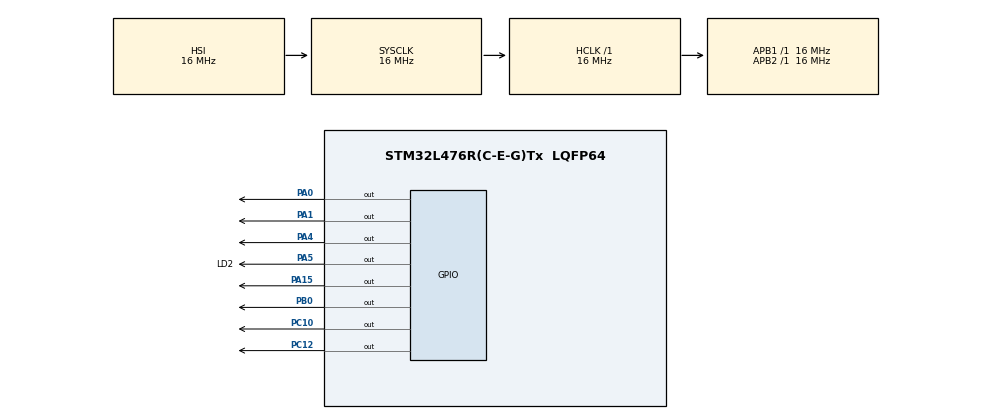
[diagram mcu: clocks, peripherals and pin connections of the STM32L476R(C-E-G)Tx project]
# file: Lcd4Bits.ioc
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Mcu.Family=STM32L4
Mcu.Name=STM32L476R(C-E-G)Tx
Mcu.Package=LQFP64
NVIC.PriorityGroup=NVIC_PRIORITYGROUP_4
PA0.Signal=GPIO_Output
PA1.Signal=GPIO_Output
PA15\ (JTDI).Signal=GPIO_Output
PA4.Signal=GPIO_Output
PA5.GPIO_Label=LD2
PA5.Signal=GPIO_Output
PB0.Signal=GPIO_Output
PC10.Signal=GPIO_Output
PC12.Signal=GPIO_Output
ProjectManager.HeapSize=0x200
ProjectManager.StackSize=0x400
ProjectManager.TargetToolchain=STM32CubeIDE
RCC.AHBFreq_Value=16000000
RCC.APB1Freq_Value=16000000
RCC.APB1TimFreq_Value=16000000
RCC.APB2Freq_Value=16000000
RCC.APB2TimFreq_Value=16000000
RCC.CortexFreq_Value=16000000
RCC.HCLKFreq_Value=16000000
RCC.HSE_VALUE=8000000
RCC.HSI_VALUE=16000000
RCC.LSE_VALUE=32768
RCC.MSI_VALUE=4000000
RCC.SYSCLKFreq_VALUE=16000000
RCC.SYSCLKSource=RCC_SYSCLKSOURCE_HSI
RCC.VCOOutputFreq_Value=32000000
TIM1.Period=65535-1
TIM1.Prescaler=16-1
VP_TIM1_VS_ClockSourceINT.Mode=Internal
board=custom

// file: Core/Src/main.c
/* USER CODE BEGIN Header */
/**
  ******************************************************************************
  * @file           : main.c
  * @brief          : Main program body
  ******************************************************************************
  * @attention
  *
  * Copyright (c) 2022 STMicroelectronics.
  * All rights reserved.
  *
  * This software is licensed under terms that can be found in the LICENSE file
  * in the root directory of this software component.
  * If no LICENSE file comes with this software, it is provided AS-IS.
  *
  ******************************************************************************
  */
/* USER CODE END Header */
#include "main.h"

/* USER CODE BEGIN Includes */

#include "LCD1602.h" //Inclusão da Biblioteca...

//Demais bibliotecas.
#include "string.h"
#include "stdio.h"

/* USER CODE END Includes */

/* USER CODE BEGIN PTD */

uint32_t contagem; //Variável de contagem.
uint8_t dadosbuf[12]; //Dados de string para LCD;

/* USER CODE END PTD */

TIM_HandleTypeDef htim1;

/* USER CODE BEGIN PV */

//Função para atraso, configurado para 1us;
void delay_us(uint16_t us)
{
	__HAL_TIM_SET_COUNTER(&htim1, 0);
	while (__HAL_TIM_GET_COUNTER(&htim1)<us);
}

/* USER CODE END PV */

void SystemClock_Config(void);
static void MX_GPIO_Init(void);
static void MX_TIM1_Init(void);

int main(void)
{

  /* MCU Configuration--------------------------------------------------------*/

  /* Reset of all peripherals, Initializes the Flash interface and the Systick. */
  HAL_Init();

  /* Configure the system clock */
  SystemClock_Config();

  /* Initialize all configured peripherals */
  MX_GPIO_Init();
  MX_TIM1_Init();
  /* USER CODE BEGIN 2 */

  HAL_TIM_Base_Start(&htim1); //Inicializa Timer 1;

  lcd_init();
  lcd_put_cur(0, 0);
  lcd_send_string("Curso ");
  lcd_send_string("STM32 ");
  lcd_send_string("PRO");

  lcd_put_cur(1, 0);
  lcd_send_string("Prof. Gabriel");
  HAL_Delay(3000);

  lcd_clear();

  /* USER CODE END 2 */

  /* Infinite loop */
  while (1)
  {

    /* USER CODE BEGIN 3 */

	  HAL_GPIO_TogglePin(GPIOA, LD2_Pin);
	  HAL_Delay(500);

	  contagem++; //Faz a soma de contagem...

	  sprintf(dadosbuf,"%04u",contagem); //Transforma contagem em string no formato 'xxxx'
	  lcd_put_cur(0, 0); //Posiciona cursor no começo do lcd (0,0).
	  lcd_send_string("Cont: ");
	  lcd_put_cur(0, 5); //Posiciona cursor para mostrar variável do lcd (0,5).
	  lcd_send_string(dadosbuf); //Envia string convertida.

  }
  /* USER CODE END 3 */
}

void SystemClock_Config(void)
{
  RCC_OscInitTypeDef RCC_OscInitStruct = {0};
  RCC_ClkInitTypeDef RCC_ClkInitStruct = {0};

  /** Configure the main internal regulator output voltage
  */
  if (HAL_PWREx_ControlVoltageScaling(PWR_REGULATOR_VOLTAGE_SCALE1) != HAL_OK)
  {
    Error_Handler();
  }
  /** Initializes the RCC Oscillators according to the specified parameters
  * in the RCC_OscInitTypeDef structure.
  */
  RCC_OscInitStruct.OscillatorType = RCC_OSCILLATORTYPE_HSI;
  RCC_OscInitStruct.HSIState = RCC_HSI_ON;
  RCC_OscInitStruct.HSICalibrationValue = RCC_HSICALIBRATION_DEFAULT;
  RCC_OscInitStruct.PLL.PLLState = RCC_PLL_NONE;
  if (HAL_RCC_OscConfig(&RCC_OscInitStruct) != HAL_OK)
  {
    Error_Handler();
  }
  /** Initializes the CPU, AHB and APB buses clocks
  */
  RCC_ClkInitStruct.ClockType = RCC_CLOCKTYPE_HCLK|RCC_CLOCKTYPE_SYSCLK
                              |RCC_CLOCKTYPE_PCLK1|RCC_CLOCKTYPE_PCLK2;
  RCC_ClkInitStruct.SYSCLKSource = RCC_SYSCLKSOURCE_HSI;
  RCC_ClkInitStruct.AHBCLKDivider = RCC_SYSCLK_DIV1;
  RCC_ClkInitStruct.APB1CLKDivider = RCC_HCLK_DIV1;
  RCC_ClkInitStruct.APB2CLKDivider = RCC_HCLK_DIV1;

  if (HAL_RCC_ClockConfig(&RCC_ClkInitStruct, FLASH_LATENCY_0) != HAL_OK)
  {
    Error_Handler();
  }
}

static void MX_TIM1_Init(void)
{

  TIM_ClockConfigTypeDef sClockSourceConfig = {0};
  TIM_MasterConfigTypeDef sMasterConfig = {0};

  htim1.Instance = TIM1;
  htim1.Init.Prescaler = 16-1;
  htim1.Init.CounterMode = TIM_COUNTERMODE_UP;
  htim1.Init.Period = 65535-1;
  htim1.Init.ClockDivision = TIM_CLOCKDIVISION_DIV1;
  htim1.Init.RepetitionCounter = 0;
  htim1.Init.AutoReloadPreload = TIM_AUTORELOAD_PRELOAD_DISABLE;
  if (HAL_TIM_Base_Init(&htim1) != HAL_OK)
  {
    Error_Handler();
  }
  sClockSourceConfig.ClockSource = TIM_CLOCKSOURCE_INTERNAL;
  if (HAL_TIM_ConfigClockSource(&htim1, &sClockSourceConfig) != HAL_OK)
  {
    Error_Handler();
  }
  sMasterConfig.MasterOutputTrigger = TIM_TRGO_RESET;
  sMasterConfig.MasterOutputTrigger2 = TIM_TRGO2_RESET;
  sMasterConfig.MasterSlaveMode = TIM_MASTERSLAVEMODE_DISABLE;
  if (HAL_TIMEx_MasterConfigSynchronization(&htim1, &sMasterConfig) != HAL_OK)
  {
    Error_Handler();
  }

}

static void MX_GPIO_Init(void)
{
  GPIO_InitTypeDef GPIO_InitStruct = {0};

  /* GPIO Ports Clock Enable */
  __HAL_RCC_GPIOA_CLK_ENABLE();
  __HAL_RCC_GPIOB_CLK_ENABLE();
  __HAL_RCC_GPIOC_CLK_ENABLE();

  /*Configure GPIO pin Output Level */
  HAL_GPIO_WritePin(GPIOA, GPIO_PIN_0|GPIO_PIN_1|GPIO_PIN_4|LD2_Pin
                          |GPIO_PIN_15, GPIO_PIN_RESET);

  /*Configure GPIO pin Output Level */
  HAL_GPIO_WritePin(GPIOB, GPIO_PIN_0, GPIO_PIN_RESET);

  /*Configure GPIO pin Output Level */
  HAL_GPIO_WritePin(GPIOC, GPIO_PIN_10|GPIO_PIN_12, GPIO_PIN_RESET);

  /*Configure GPIO pins : PA0 PA1 PA4 LD2_Pin
                           PA15 */
  GPIO_InitStruct.Pin = GPIO_PIN_0|GPIO_PIN_1|GPIO_PIN_4|LD2_Pin
                          |GPIO_PIN_15;
  GPIO_InitStruct.Mode = GPIO_MODE_OUTPUT_PP;
  GPIO_InitStruct.Pull = GPIO_NOPULL;
  GPIO_InitStruct.Speed = GPIO_SPEED_FREQ_LOW;
  HAL_GPIO_Init(GPIOA, &GPIO_InitStruct);

  /*Configure GPIO pin : PB0 */
  GPIO_InitStruct.Pin = GPIO_PIN_0;
  GPIO_InitStruct.Mode = GPIO_MODE_OUTPUT_PP;
  GPIO_InitStruct.Pull = GPIO_NOPULL;
  GPIO_InitStruct.Speed = GPIO_SPEED_FREQ_LOW;
  HAL_GPIO_Init(GPIOB, &GPIO_InitStruct);

  /*Configure GPIO pins : PC10 PC12 */
  GPIO_InitStruct.Pin = GPIO_PIN_10|GPIO_PIN_12;
  GPIO_InitStruct.Mode = GPIO_MODE_OUTPUT_PP;
  GPIO_InitStruct.Pull = GPIO_NOPULL;
  GPIO_InitStruct.Speed = GPIO_SPEED_FREQ_LOW;
  HAL_GPIO_Init(GPIOC, &GPIO_InitStruct);

}

void Error_Handler(void)
{
  __disable_irq();
  while (1)
  {
  }
}
